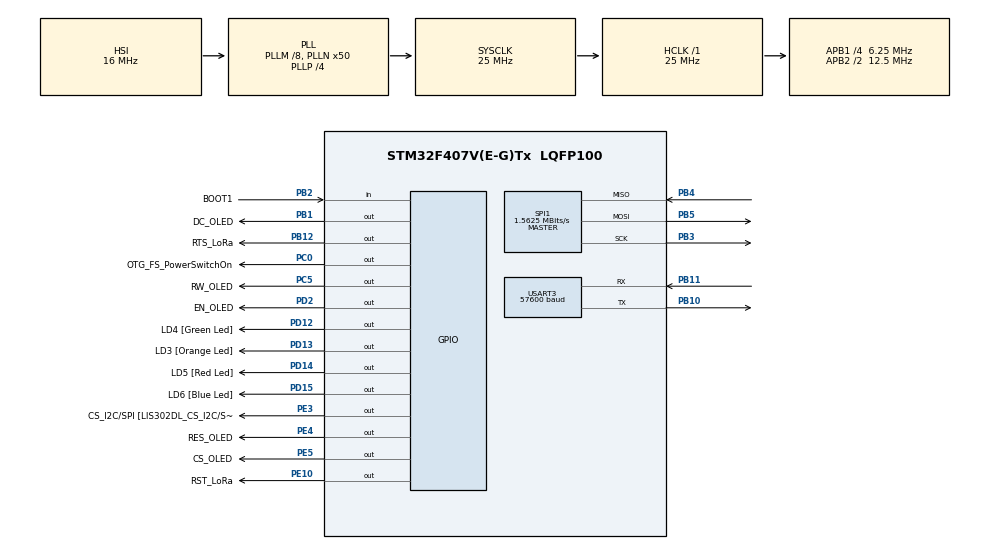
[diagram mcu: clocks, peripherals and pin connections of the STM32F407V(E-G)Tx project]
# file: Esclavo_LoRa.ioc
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Mcu.Family=STM32F4
Mcu.Name=STM32F407V(E-G)Tx
Mcu.Package=LQFP100
NVIC.PriorityGroup=NVIC_PRIORITYGROUP_0
PA13.GPIO_Label=SWDIO
PA13.Mode=Serial_Wire
PA13.Signal=SYS_JTMS-SWDIO
PA14.GPIO_Label=SWCLK
PA14.Mode=Serial_Wire
PA14.Signal=SYS_JTCK-SWCLK
PB1.GPIO_Label=DC_OLED
PB1.Signal=GPIO_Output
PB10.Mode=Asynchronous
PB10.Signal=USART3_TX
PB11.Mode=Asynchronous
PB11.Signal=USART3_RX
PB12.GPIO_Label=RTS_LoRa
PB12.Signal=GPIO_Output
PB2.GPIO_Label=BOOT1
PB2.GPIO_Mode=GPIO_MODE_INPUT
PB2.GPIO_PuPd=GPIO_NOPULL
PB2.Signal=GPIO_Input
PB3.Mode=Full_Duplex_Master
PB3.Signal=SPI1_SCK
PB4.Mode=Full_Duplex_Master
PB4.Signal=SPI1_MISO
PB5.Mode=Full_Duplex_Master
PB5.Signal=SPI1_MOSI
PC0.GPIO_Label=OTG_FS_PowerSwitchOn
PC0.GPIO_PuPd=GPIO_NOPULL
PC0.GPIO_Speed=GPIO_SPEED_FREQ_LOW
PC0.PinState=GPIO_PIN_SET
PC0.Signal=GPIO_Output
PC5.GPIO_Label=RW_OLED
PC5.Signal=GPIO_Output
PD12.GPIO_Label=LD4 [Green Led]
PD12.GPIO_PuPd=GPIO_NOPULL
PD12.GPIO_Speed=GPIO_SPEED_FREQ_LOW
PD12.Signal=GPIO_Output
PD13.GPIO_Label=LD3 [Orange Led]
PD13.GPIO_PuPd=GPIO_NOPULL
PD13.GPIO_Speed=GPIO_SPEED_FREQ_LOW
PD13.Signal=GPIO_Output
PD14.GPIO_Label=LD5 [Red Led]
PD14.GPIO_PuPd=GPIO_NOPULL
PD14.GPIO_Speed=GPIO_SPEED_FREQ_LOW
PD14.Signal=GPIO_Output
PD15.GPIO_Label=LD6 [Blue Led]
PD15.GPIO_PuPd=GPIO_NOPULL
PD15.GPIO_Speed=GPIO_SPEED_FREQ_LOW
PD15.Signal=GPIO_Output
PD2.GPIO_Label=EN_OLED
PD2.Signal=GPIO_Output
PE10.GPIO_Label=RST_LoRa
PE10.GPIO_PuPd=GPIO_PULLUP
PE10.Signal=GPIO_Output
PE3.GPIO_Label=CS_I2C/SPI [LIS302DL_CS_I2C/SPI]
PE3.GPIO_PuPd=GPIO_NOPULL
PE3.GPIO_Speed=GPIO_SPEED_FREQ_LOW
PE3.Signal=GPIO_Output
PE4.GPIO_Label=RES_OLED
PE4.Signal=GPIO_Output
PE5.GPIO_Label=CS_OLED
PE5.Signal=GPIO_Output
ProjectManager.HeapSize=0x200
ProjectManager.StackSize=0x400
ProjectManager.TargetToolchain=STM32CubeIDE
RCC.48MHZClocksFreq_Value=14285714.285714285
RCC.AHBFreq_Value=25000000
RCC.APB1CLKDivider=RCC_HCLK_DIV4
RCC.APB1Freq_Value=6250000
RCC.APB1TimFreq_Value=12500000
RCC.APB2CLKDivider=RCC_HCLK_DIV2
RCC.APB2Freq_Value=12500000
RCC.APB2TimFreq_Value=25000000
RCC.CortexFreq_Value=25000000
RCC.HCLKFreq_Value=25000000
RCC.HSE_VALUE=8000000
RCC.HSI_VALUE=16000000
RCC.LSE_VALUE=32768
RCC.PLLM=8
RCC.PLLN=50
RCC.PLLP=RCC_PLLP_DIV4
RCC.PLLQ=7
RCC.SYSCLKFreq_VALUE=25000000
RCC.SYSCLKSource=RCC_SYSCLKSOURCE_PLLCLK
RCC.VCOOutputFreq_Value=100000000
SPI1.BaudRatePrescaler=SPI_BAUDRATEPRESCALER_8
SPI1.CalculateBaudRate=1.5625 MBits/s
SPI1.Direction=SPI_DIRECTION_2LINES
SPI1.Mode=SPI_MODE_MASTER
SPI1.VirtualType=VM_MASTER
USART3.BaudRate=57600
USART3.VirtualMode=VM_ASYNC
board=STM32F407G-DISC1

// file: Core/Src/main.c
/* USER CODE BEGIN Header */
/**
  ******************************************************************************
  * @file           : main.c
  * @brief          : Main program body
  ******************************************************************************
  * @attention
  *
  * Copyright (c) 2025 STMicroelectronics.
  * All rights reserved.
  *
  * This software is licensed under terms that can be found in the LICENSE file
  * in the root directory of this software component.
  * If no LICENSE file comes with this software, it is provided AS-IS.
  *
  ******************************************************************************
  */
/* USER CODE END Header */
#include "main.h"

/* USER CODE BEGIN Includes */
#include "ssd1351.h"
#include <stdio.h>
#include <string.h>
#include <stdlib.h>
#include <ctype.h>
/* USER CODE END Includes */

/* USER CODE BEGIN PTD */
/* === LoRa / UART3 helpers (RX por líneas con polling suave) === */
static int LORA_SendLine(const char *line, uint32_t timeout_ms)
{
  extern UART_HandleTypeDef huart3;
  char tx[64];
  int n = snprintf(tx, sizeof(tx), "%s\r\n", line);
  if (n <= 0) return -1;
  if (HAL_UART_Transmit(&huart3, (uint8_t*)tx, (uint16_t)n, timeout_ms) != HAL_OK) return -2;
  return 0;
}

static int LORA_ReadLine(char *out, size_t out_sz, uint32_t timeout_ms)
{
  extern UART_HandleTypeDef huart3;
  size_t idx = 0;
  uint8_t ch;
  uint32_t start = HAL_GetTick();
  while ((HAL_GetTick() - start) < timeout_ms && idx < (out_sz - 1))
  {
    if (HAL_UART_Receive(&huart3, &ch, 1, 10) == HAL_OK)
    {
      if (ch == '\n') break;
      if (ch != '\r') out[idx++] = ch;
    }
  }
  out[idx] = '\0';
  return (idx > 0) ? (int)idx : -1;
}

/* === Misma PHY que el maestro y quedar escuchando === */
static int LORA_InitAndListen(void)
{
  char resp[96];
  /* Al comienzo de LORA_InitAndListen() */
  LORA_SendLine("mac pause", 200);

  if (LORA_ReadLine(resp, sizeof(resp), 500) < 0) return -1;
  /* Suele devolver "4294967295", cualquier línea es suficiente aquí */

  // reset RN por tu pin PE10 (en tu maestro ya tienes helper; aquí asumimos que lo haces antes)
  // Si quieres el pulso aquí, crea una función como en el maestro y llámala.

  // parámetros de LoRa idénticos al maestro
  LORA_SendLine("radio set mod lora", 200);              LORA_ReadLine(resp, sizeof(resp), 300);
  LORA_SendLine("radio set freq 433000000", 200);        LORA_ReadLine(resp, sizeof(resp), 300);
  LORA_SendLine("radio set pwr 14", 200);                LORA_ReadLine(resp, sizeof(resp), 300);
  LORA_SendLine("radio set sf sf7", 200);                LORA_ReadLine(resp, sizeof(resp), 300);
  LORA_SendLine("radio set bw 125", 200);                LORA_ReadLine(resp, sizeof(resp), 300);
  LORA_SendLine("radio set cr 4/5", 200);                LORA_ReadLine(resp, sizeof(resp), 300);
  LORA_SendLine("radio set crc on", 200);                LORA_ReadLine(resp, sizeof(resp), 300);
  LORA_SendLine("radio set iqi off", 200);               LORA_ReadLine(resp, sizeof(resp), 300);
  LORA_SendLine("radio set prlen 8", 200);               LORA_ReadLine(resp, sizeof(resp), 300);
  LORA_SendLine("radio set wdt 0", 200);  // DEBUG: cada 5 s, si no hay paquetes, RN devuelve "radio_err"
                LORA_ReadLine(resp, sizeof(resp), 300);

  // poner a escuchar
  if (LORA_SendLine("radio rx 0", 200) != 0) return -1;
  if (LORA_ReadLine(resp, sizeof(resp), 500) < 0) return -2; // "ok"
  HAL_Delay(20); // evita "busy"
  return 0;
}

/* === Conversión HEX4 -> int16_t (complemento a dos) === */

static inline void LORA_Reset_Pulse(void)
{
  HAL_GPIO_WritePin(RST_LoRa_GPIO_Port, RST_LoRa_Pin, GPIO_PIN_RESET); // PE10 low
  HAL_Delay(10);
  HAL_GPIO_WritePin(RST_LoRa_GPIO_Port, RST_LoRa_Pin, GPIO_PIN_SET);   // PE10 high
  HAL_Delay(300);
}

/* === Mostrar valor en OLED (HEX y decimal) === */

// Convierte 2 dígitos HEX ASCII (p.ej. "31") en un byte (0x31)
static int hex2_to_u8(const char *h, uint8_t *out)
{
  uint8_t v = 0;
  for (int i = 0; i < 2; i++) {
    char c = h[i];
    uint8_t d;
    if      (c >= '0' && c <= '9') d = (uint8_t)(c - '0');
    else if (c >= 'A' && c <= 'F') d = (uint8_t)(10 + (c - 'A'));
    else if (c >= 'a' && c <= 'f') d = (uint8_t)(10 + (c - 'a'));
    else return -1;
    v = (uint8_t)((v << 4) | d);
  }
  *out = v;
  return 0;
}

static void OLED_ShowLastDigit(char c)
{
  // etiqueta y valor en zona libre (ajusta si quieres)
  SSD1351_DrawText(20, 66, "D:", 0xFFFF, 0x0000, 2);
  char s[2] = { c, '\0' };
  SSD1351_DrawText(50, 66, s, 0xFFE0, 0x0000, 2); // “amarillo”
}

/* USER CODE END PTD */

SPI_HandleTypeDef hspi1;

UART_HandleTypeDef huart3;

void SystemClock_Config(void);
static void MX_GPIO_Init(void);
static void MX_USART3_UART_Init(void);
static void MX_SPI1_Init(void);

int main(void)
{

  /* MCU Configuration--------------------------------------------------------*/

  /* Reset of all peripherals, Initializes the Flash interface and the Systick. */
  HAL_Init();

  /* Configure the system clock */
  SystemClock_Config();

  /* Initialize all configured peripherals */
  MX_GPIO_Init();
  MX_USART3_UART_Init();
  MX_SPI1_Init();
  /* USER CODE BEGIN 2 */
  HAL_GPIO_WritePin(GPIOD, EN_OLED_Pin, GPIO_PIN_SET);
  /* después de MX_GPIO_Init(); */
  HAL_GPIO_WritePin(GPIOB, GPIO_PIN_12, GPIO_PIN_RESET);

  /* === OLED ON === */
  SSD1351_Init();
  SSD1351_Clear();
  // Test de pantalla sólida

  SSD1351_DrawText(20, 0, "OLED OK", 0xFFFF, 0x0000, 2);

  /* === LoRa en escucha === */

  {
    char rx[64] = {0};
    SSD1351_DrawText(20, 36, "Probe RN...", 0xFFFF, 0x0000, 1);

    LORA_Reset_Pulse();              // reset con 300ms
    LORA_SendLine("sys get ver", 500);

    if (LORA_ReadLine(rx, sizeof(rx), 1500) > 0) {
      SSD1351_DrawText(0, 52, "RN OK:", 0x07E0, 0x0000, 1);
      SSD1351_DrawText(40, 52, rx, 0x07E0, 0x0000, 1); // típico: "RN2483 x.y.z ..."
    } else {
      SSD1351_DrawText(0, 72, "NO UART RN", 0xF800, 0x0000, 1);
      while (1) { HAL_Delay(1000); } // detener: arregla pins/MSP/RTS antes de seguir
    }
  }

  if (LORA_InitAndListen() == 0) {
    SSD1351_DrawText(20, 16, "LoRa RX OK", 0x07E0, 0x0000, 1);
  } else {
    SSD1351_DrawText(20, 16, "LoRa FAIL",  0xF800, 0x0000, 1);
  }
  /* USER CODE END 2 */

  /* Infinite loop */
  while (1)
  {

    /* USER CODE BEGIN 3 */
	  char line[96];

	  if (LORA_ReadLine(line, sizeof(line), 1000) > 0) {

	    // (opcional) debug: muestra lo último que dijo el RN
	    SSD1351_DrawText(0, 80, "RN:                         ", 0xFFFF, 0x0000, 1);
	    SSD1351_DrawText(20, 80, line, 0xFFFF, 0x0000, 1);

	    if (strncmp(line, "radio_rx ", 9) == 0) {
	      const char *p = line + 9;
	      while (*p == ' ') p++; // saltar espacios

	      // --- tomar SOLO los 2 primeros hex del payload ---
	      char hex2[3] = {0};
	      if (isxdigit((unsigned char)p[0]) && isxdigit((unsigned char)p[1])) {
	        hex2[0] = p[0];
	        hex2[1] = p[1];

	        uint8_t b;
	        if (hex2_to_u8(hex2, &b) == 0) {
	          char to_show;

	          // Si el Maestro manda ASCII '0'..'9' -> 0x30..0x39
	          if (b >= '0' && b <= '9') {
	            to_show = (char)b;
	          } else if (b <= 9) {           // si algún día mandas 00..09 crudo
	            to_show = (char)('0' + b);
	          } else {
	            to_show = '.';               // cualquier otro valor
	          }

	          OLED_ShowLastDigit(to_show);   // <-- pinta el dígito (no “30/31”)
	          HAL_GPIO_TogglePin(GPIOD, LD4_Pin); // LED verde feedback
	        }
	      }

	      // volver a escuchar
	      LORA_SendLine("radio rx 0", 200);
	      LORA_ReadLine(line, sizeof(line), 500); // "ok"
	      HAL_Delay(20);
	    }
	    else if (!strcmp(line, "radio_err") || !strcmp(line, "busy")) {
	      LORA_SendLine("radio rx 0", 200);
	      LORA_ReadLine(line, sizeof(line), 500);
	      HAL_Delay(20);
	    }
	  }
  }
  /* USER CODE END 3 */
}

void SystemClock_Config(void)
{
  RCC_OscInitTypeDef RCC_OscInitStruct = {0};
  RCC_ClkInitTypeDef RCC_ClkInitStruct = {0};

  /** Configure the main internal regulator output voltage
  */
  __HAL_RCC_PWR_CLK_ENABLE();
  __HAL_PWR_VOLTAGESCALING_CONFIG(PWR_REGULATOR_VOLTAGE_SCALE1);

  /** Initializes the RCC Oscillators according to the specified parameters
  * in the RCC_OscInitTypeDef structure.
  */
  RCC_OscInitStruct.OscillatorType = RCC_OSCILLATORTYPE_HSI;
  RCC_OscInitStruct.HSIState = RCC_HSI_ON;
  RCC_OscInitStruct.HSICalibrationValue = RCC_HSICALIBRATION_DEFAULT;
  RCC_OscInitStruct.PLL.PLLState = RCC_PLL_ON;
  RCC_OscInitStruct.PLL.PLLSource = RCC_PLLSOURCE_HSI;
  RCC_OscInitStruct.PLL.PLLM = 8;
  RCC_OscInitStruct.PLL.PLLN = 50;
  RCC_OscInitStruct.PLL.PLLP = RCC_PLLP_DIV4;
  RCC_OscInitStruct.PLL.PLLQ = 7;
  if (HAL_RCC_OscConfig(&RCC_OscInitStruct) != HAL_OK)
  {
    Error_Handler();
  }

  /** Initializes the CPU, AHB and APB buses clocks
  */
  RCC_ClkInitStruct.ClockType = RCC_CLOCKTYPE_HCLK|RCC_CLOCKTYPE_SYSCLK
                              |RCC_CLOCKTYPE_PCLK1|RCC_CLOCKTYPE_PCLK2;
  RCC_ClkInitStruct.SYSCLKSource = RCC_SYSCLKSOURCE_PLLCLK;
  RCC_ClkInitStruct.AHBCLKDivider = RCC_SYSCLK_DIV1;
  RCC_ClkInitStruct.APB1CLKDivider = RCC_HCLK_DIV4;
  RCC_ClkInitStruct.APB2CLKDivider = RCC_HCLK_DIV2;

  if (HAL_RCC_ClockConfig(&RCC_ClkInitStruct, FLASH_LATENCY_0) != HAL_OK)
  {
    Error_Handler();
  }
}

static void MX_SPI1_Init(void)
{

  /* SPI1 parameter configuration*/
  hspi1.Instance = SPI1;
  hspi1.Init.Mode = SPI_MODE_MASTER;
  hspi1.Init.Direction = SPI_DIRECTION_2LINES;
  hspi1.Init.DataSize = SPI_DATASIZE_8BIT;
  hspi1.Init.CLKPolarity = SPI_POLARITY_LOW;
  hspi1.Init.CLKPhase = SPI_PHASE_1EDGE;
  hspi1.Init.NSS = SPI_NSS_SOFT;
  hspi1.Init.BaudRatePrescaler = SPI_BAUDRATEPRESCALER_8;
  hspi1.Init.FirstBit = SPI_FIRSTBIT_MSB;
  hspi1.Init.TIMode = SPI_TIMODE_DISABLE;
  hspi1.Init.CRCCalculation = SPI_CRCCALCULATION_DISABLE;
  hspi1.Init.CRCPolynomial = 10;
  if (HAL_SPI_Init(&hspi1) != HAL_OK)
  {
    Error_Handler();
  }

}

static void MX_USART3_UART_Init(void)
{

  huart3.Instance = USART3;
  huart3.Init.BaudRate = 57600;
  huart3.Init.WordLength = UART_WORDLENGTH_8B;
  huart3.Init.StopBits = UART_STOPBITS_1;
  huart3.Init.Parity = UART_PARITY_NONE;
  huart3.Init.Mode = UART_MODE_TX_RX;
  huart3.Init.HwFlowCtl = UART_HWCONTROL_NONE;
  huart3.Init.OverSampling = UART_OVERSAMPLING_16;
  if (HAL_UART_Init(&huart3) != HAL_OK)
  {
    Error_Handler();
  }

}

static void MX_GPIO_Init(void)
{
  GPIO_InitTypeDef GPIO_InitStruct = {0};

  /* GPIO Ports Clock Enable */
  __HAL_RCC_GPIOE_CLK_ENABLE();
  __HAL_RCC_GPIOC_CLK_ENABLE();
  __HAL_RCC_GPIOB_CLK_ENABLE();
  __HAL_RCC_GPIOD_CLK_ENABLE();
  __HAL_RCC_GPIOA_CLK_ENABLE();

  /*Configure GPIO pin Output Level */
  HAL_GPIO_WritePin(GPIOE, CS_I2C_SPI_Pin|RES_OLED_Pin|CS_OLED_Pin|RST_LoRa_Pin, GPIO_PIN_RESET);

  /*Configure GPIO pin Output Level */
  HAL_GPIO_WritePin(OTG_FS_PowerSwitchOn_GPIO_Port, OTG_FS_PowerSwitchOn_Pin, GPIO_PIN_SET);

  /*Configure GPIO pin Output Level */
  HAL_GPIO_WritePin(RW_OLED_GPIO_Port, RW_OLED_Pin, GPIO_PIN_RESET);

  /*Configure GPIO pin Output Level */
  HAL_GPIO_WritePin(GPIOB, DC_OLED_Pin|RTS_LoRa_Pin, GPIO_PIN_RESET);

  /*Configure GPIO pin Output Level */
  HAL_GPIO_WritePin(GPIOD, LD4_Pin|LD3_Pin|LD5_Pin|LD6_Pin
                          |EN_OLED_Pin, GPIO_PIN_RESET);

  /*Configure GPIO pins : CS_I2C_SPI_Pin RES_OLED_Pin CS_OLED_Pin */
  GPIO_InitStruct.Pin = CS_I2C_SPI_Pin|RES_OLED_Pin|CS_OLED_Pin;
  GPIO_InitStruct.Mode = GPIO_MODE_OUTPUT_PP;
  GPIO_InitStruct.Pull = GPIO_NOPULL;
  GPIO_InitStruct.Speed = GPIO_SPEED_FREQ_LOW;
  HAL_GPIO_Init(GPIOE, &GPIO_InitStruct);

  /*Configure GPIO pins : OTG_FS_PowerSwitchOn_Pin RW_OLED_Pin */
  GPIO_InitStruct.Pin = OTG_FS_PowerSwitchOn_Pin|RW_OLED_Pin;
  GPIO_InitStruct.Mode = GPIO_MODE_OUTPUT_PP;
  GPIO_InitStruct.Pull = GPIO_NOPULL;
  GPIO_InitStruct.Speed = GPIO_SPEED_FREQ_LOW;
  HAL_GPIO_Init(GPIOC, &GPIO_InitStruct);

  /*Configure GPIO pins : DC_OLED_Pin RTS_LoRa_Pin */
  GPIO_InitStruct.Pin = DC_OLED_Pin|RTS_LoRa_Pin;
  GPIO_InitStruct.Mode = GPIO_MODE_OUTPUT_PP;
  GPIO_InitStruct.Pull = GPIO_NOPULL;
  GPIO_InitStruct.Speed = GPIO_SPEED_FREQ_LOW;
  HAL_GPIO_Init(GPIOB, &GPIO_InitStruct);

  /*Configure GPIO pin : BOOT1_Pin */
  GPIO_InitStruct.Pin = BOOT1_Pin;
  GPIO_InitStruct.Mode = GPIO_MODE_INPUT;
  GPIO_InitStruct.Pull = GPIO_NOPULL;
  HAL_GPIO_Init(BOOT1_GPIO_Port, &GPIO_InitStruct);

  /*Configure GPIO pin : RST_LoRa_Pin */
  GPIO_InitStruct.Pin = RST_LoRa_Pin;
  GPIO_InitStruct.Mode = GPIO_MODE_OUTPUT_PP;
  GPIO_InitStruct.Pull = GPIO_PULLUP;
  GPIO_InitStruct.Speed = GPIO_SPEED_FREQ_LOW;
  HAL_GPIO_Init(RST_LoRa_GPIO_Port, &GPIO_InitStruct);

  /*Configure GPIO pins : LD4_Pin LD3_Pin LD5_Pin LD6_Pin
                           EN_OLED_Pin */
  GPIO_InitStruct.Pin = LD4_Pin|LD3_Pin|LD5_Pin|LD6_Pin
                          |EN_OLED_Pin;
  GPIO_InitStruct.Mode = GPIO_MODE_OUTPUT_PP;
  GPIO_InitStruct.Pull = GPIO_NOPULL;
  GPIO_InitStruct.Speed = GPIO_SPEED_FREQ_LOW;
  HAL_GPIO_Init(GPIOD, &GPIO_InitStruct);

  /* USER CODE BEGIN MX_GPIO_Init_2 */
  /* PB12 como salida: mantenerlo en estado "listo" */
  GPIO_InitStruct.Pin = GPIO_PIN_12;
  GPIO_InitStruct.Mode = GPIO_MODE_OUTPUT_PP;
  GPIO_InitStruct.Pull = GPIO_PULLUP;    // evita flotar
  GPIO_InitStruct.Speed = GPIO_SPEED_FREQ_LOW;
  HAL_GPIO_Init(GPIOB, &GPIO_InitStruct);

  HAL_GPIO_WritePin(GPIOB, GPIO_PIN_12, GPIO_PIN_RESET);

  GPIO_InitStruct.Pin = GPIO_PIN_7;
  GPIO_InitStruct.Mode = GPIO_MODE_INPUT;
  GPIO_InitStruct.Pull = GPIO_NOPULL;
  HAL_GPIO_Init(GPIOE, &GPIO_InitStruct);

  /* USER CODE END MX_GPIO_Init_2 */
}

void Error_Handler(void)
{
  __disable_irq();
  while (1)
  {
  }
}
